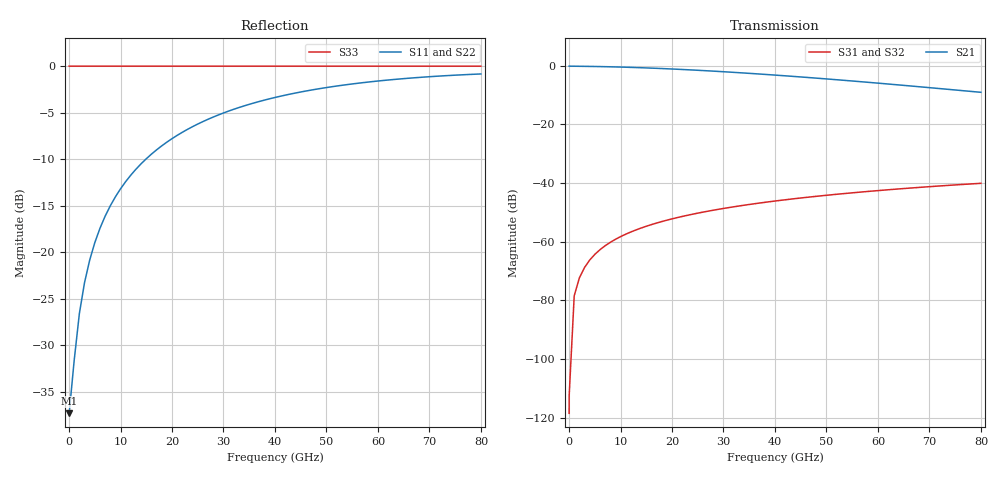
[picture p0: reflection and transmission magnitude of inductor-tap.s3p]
#  GHZ S DB R 50
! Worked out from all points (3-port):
!   82 points, 10 MHz to 80 GHz, reference 50 ohm
!   strongest paths, dB at 10 MHz, 19 GHz, 40 GHz, 60 GHz, 80 GHz:
!     S21: -0.1, -1.0, -3.2, -5.9, -9.0
!     S31: -118.5, -52.6, -46.1, -42.5, -40.1
!     S32: -118.5, -52.7, -46.3, -42.9, -40.4
!   lowest |S11| = -37.3 dB at 10 MHz (marker M1), VSWR 1.03, Z = 51.4 + j0.0245 ohm
!   |S11| at or under -10 dB: start of sweep to 14.9 GHz
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0.01  -37.30 1.0  -0.12 -0.0  -118.49 90.0
      -0.12 -0.0  -37.30 1.0  -118.51 90.0
      -118.49 90.0  -118.51 90.0  0.00 -0.0
1  -31.58 56.5  -0.14 -1.8  -78.42 90.5
   -0.14 -1.8  -31.59 56.5  -78.43 90.5
   -78.42 90.5  -78.43 90.5  -0.00 -0.0
2  -26.59 69.6  -0.16 -3.4  -72.33 90.4
   -0.16 -3.4  -26.60 69.6  -72.34 90.2
   -72.33 90.4  -72.34 90.2  -0.00 -0.0
4  -20.85 74.5  -0.20 -6.7  -66.25 89.9
   -0.20 -6.7  -20.84 74.5  -66.27 89.7
   -66.25 89.9  -66.27 89.7  -0.00 -0.1
7  -16.13 72.9  -0.30 -11.5  -61.36 89.3
   -0.30 -11.5  -16.12 72.8  -61.39 88.9
   -61.36 89.3  -61.39 88.9  -0.00 -0.2
10  -13.17 69.4  -0.43 -16.2  -58.25 88.7
    -0.43 -16.2  -13.18 69.2  -58.28 88.1
    -58.25 88.7  -58.28 88.1  -0.00 -0.2
22  -7.10 53.0  -1.25 -34.1  -51.36 86.6
    -1.25 -34.1  -7.10 52.7  -51.46 85.4
    -51.36 86.6  -51.46 85.4  -0.00 -0.5
41  -3.24 29.2  -3.28 -58.8  -45.89 82.9
    -3.28 -58.8  -3.24 28.6  -46.11 81.3
    -45.89 82.9  -46.11 81.3  -0.00 -1.0
61  -1.54 7.4  -6.06 -81.3  -42.41 78.2
    -6.06 -81.3  -1.54 6.3  -42.71 76.6
    -42.41 78.2  -42.71 76.6  -0.00 -1.5
80  -0.84 -11.7  -9.03 -101.3  -40.07 72.8
    -9.03 -101.3  -0.84 -13.3  -40.43 71.1
    -40.07 72.8  -40.43 71.1  -0.00 -2.0
